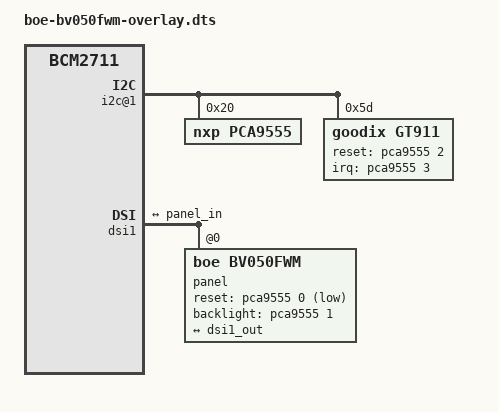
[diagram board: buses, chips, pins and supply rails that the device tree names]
// SPDX-License-Identifier: GPL-2.0-only
/dts-v1/;
/plugin/;

// Updated BOE BV050FWM overlay with GT911 touchscreen node
// GT911 shares I2C bus with PCA9555 on i2c0mux/i2c@1
// No IRQ pin -> polling mode

/ {
    compatible = "brcm,bcm2711";

    fragment@0 {
        target-path = "/soc/i2c0mux/i2c@1";
        __overlay__ {
            status = "okay";
            #address-cells = <1>;
            #size-cells = <0>;

            pca9555: gpio@20 {
                compatible = "nxp,pca9555";
                reg = <0x20>;
                gpio-controller;
                #gpio-cells = <2>;
                status = "okay";
                gpio-line-names = "LCD_RST", "LCD_EN", "TP_RST", "TP_INT";
            };

            // GT911 touchscreen on same I2C bus
            // irq-gpios is REQUIRED even in polling mode: the INT pin
            // must be pulled high during init or GT911 won't scan.
            gt911: touchscreen@5d {
                compatible = "goodix,gt911";
                reg = <0x5d>;
                reset-gpios = <&pca9555 2 0>;
                irq-gpios = <&pca9555 3 0>;
            };
        };
    };

    fragment@1 {
        target = <&dsi1>;
        __overlay__ {
            status = "okay";
            #address-cells = <1>;
            #size-cells = <0>;
            panel: panel@0 {
                status = "okay";
                compatible = "boe,bv050fwm";
                reg = <0>;

                reset-gpios = <&pca9555 0 1>;
                backlight-gpios = <&pca9555 1 0>;

                port {
                    panel_in: endpoint {
                        remote-endpoint = <&dsi1_out>;
                    };
                };
            };

            port {
                dsi1_out: endpoint {
                    remote-endpoint = <&panel_in>;
                    data-lanes = <0 1>;
                };
            };
        };
    };

    fragment@2 {
        target = <&spidev0>;
        __overlay__ {
            status = "disabled";
        };
    };
};
